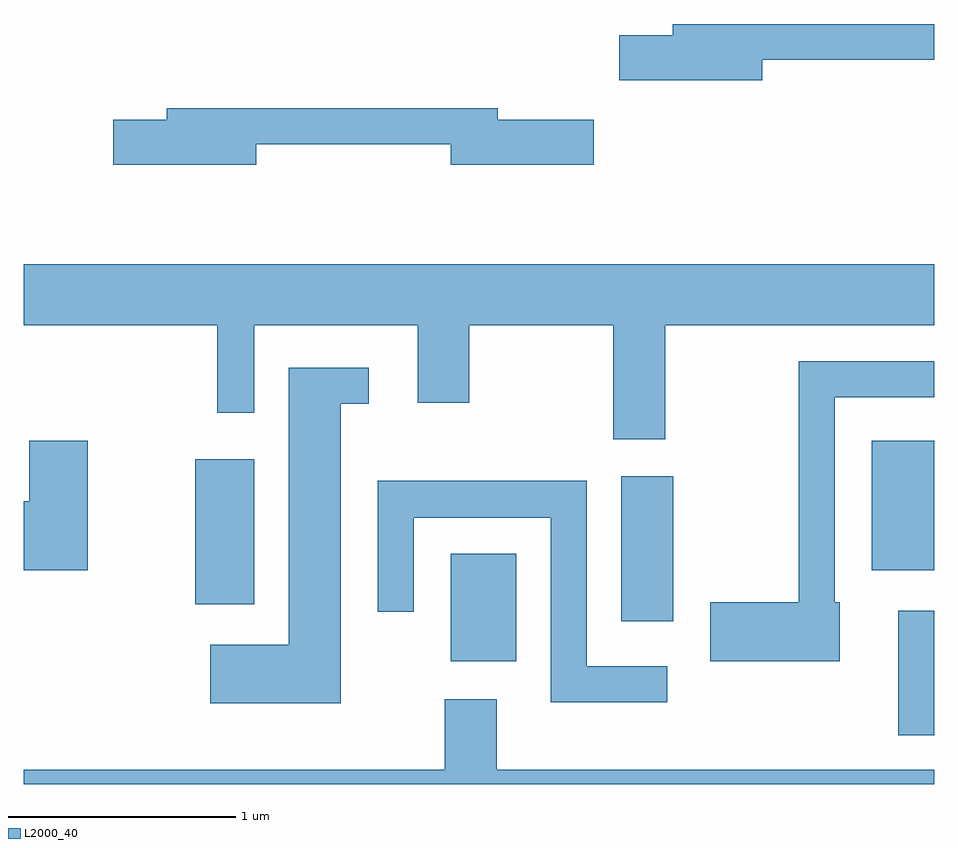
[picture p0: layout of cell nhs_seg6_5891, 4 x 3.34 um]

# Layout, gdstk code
import gdstk
lib = gdstk.Library(unit=1e-6, precision=1e-09)
def R(c, l, rs):  # rectangles x0, y0, x1, y1
    for r in rs: c.add(gdstk.rectangle(r[:2], r[2:], *l))
def P(c, l, *ps):  # polygons
    for p in ps: c.add(gdstk.Polygon(p, *l))
L2000_40 = (2000, 40)

nhs_seg6_5891 = lib.new_cell('nhs_seg6_5891')
R(nhs_seg6_5891, L2000_40, [(365.486,1630.701,365.774,1631.174), (366.236,1630.876,366.464,1631.514), (364.366,1630.951,364.624,1631.589), (367.336,1631.101,367.611,1631.669)])
P(nhs_seg6_5891, L2000_40, [(366.854,1633.341),(367.611,1633.341),(367.611,1633.499),(366.461,1633.499),(366.461,1633.449),(366.226,1633.449),(366.226,1633.251),(366.854,1633.251)],
  [(364.634,1632.971),(365.486,1632.971),(365.486,1632.881),(366.114,1632.881),(366.114,1633.079),(365.694,1633.079),(365.694,1633.129),(364.241,1633.129),(364.241,1633.079),(364.006,1633.079),(364.006,1632.881),(364.634,1632.881)],
  [(366.429,1632.176),(367.611,1632.176),(367.611,1632.444),(363.611,1632.444),(363.611,1632.176),(364.461,1632.176),(364.461,1631.793),(364.624,1631.793),(364.624,1632.176),(365.341,1632.176),(365.341,1631.836),(365.569,1631.836),(365.569,1632.176),(366.201,1632.176),(366.201,1631.676),(366.429,1631.676)],
  [(367.194,1630.959),(367.174,1630.959),(367.174,1631.861),(367.611,1631.861),(367.611,1632.019),(367.016,1632.019),(367.016,1630.959),(366.626,1630.959),(366.626,1630.701),(367.194,1630.701)],
  [(365.004,1631.831),(365.128,1631.831),(365.128,1631.989),(364.776,1631.989),(364.776,1630.774),(364.431,1630.774),(364.431,1630.516),(365.004,1630.516)],
  [(363.894,1631.669),(363.636,1631.669),(363.636,1631.404),(363.611,1631.404),(363.611,1631.101),(363.894,1631.101)],
  [(366.438,1630.679),(366.084,1630.679),(366.084,1631.494),(365.166,1631.494),(365.166,1630.918),(365.324,1630.918),(365.324,1631.331),(365.926,1631.331),(365.926,1630.521),(366.438,1630.521)],
  [(367.611,1630.534),(367.609,1630.534),(367.609,1630.923),(367.451,1630.923),(367.451,1630.376),(367.611,1630.376)],
  [(367.611,1630.224),(365.689,1630.224),(365.689,1630.534),(365.461,1630.534),(365.461,1630.224),(363.611,1630.224),(363.611,1630.162),(367.611,1630.162)])

lib.write_gds('nhs_seg6_5891.gds')
